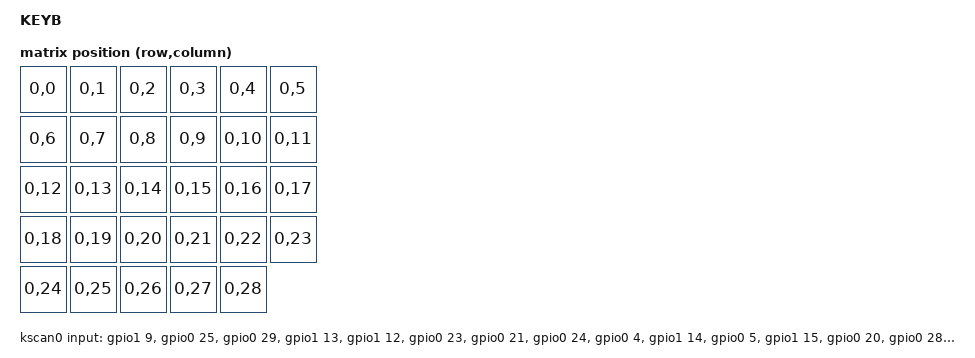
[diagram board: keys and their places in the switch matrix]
/*
 * Copyright (c) 2021 The ZMK Contributors
 *
 * SPDX-License-Identifier: MIT
 */

/dts-v1/;
#include <nordic/nrf52840_qiaa.dtsi>
#include <common/nordic/nrf52840_uf2_boot_mode.dtsi>

#include <dt-bindings/zmk/matrix_transform.h>

#include "keyb-layout.dtsi"

/ {
    model = "KEYB";
    compatible = "keyb";

    chosen {
        zephyr,code-partition = &code_partition;
        zephyr,sram = &sram0;
        zephyr,flash = &flash0;
        zmk,battery = &vbatt;
        zmk,kscan = &kscan0;
        zmk,physical-layout = &keyb_layout;
    };


    // The direct kscan reports each switch as row 0, column <index in input-gpios>,
    // so the transform is just the identity, laid out like the keymap.
    default_transform: keymap_transform_0 {
        compatible = "zmk,matrix-transform";
        columns = <29>;
        rows = <1>;
        map = <
            RC(0,0)  RC(0,1)  RC(0,2)  RC(0,3)  RC(0,4)  RC(0,5)
            RC(0,6)  RC(0,7)  RC(0,8)  RC(0,9)  RC(0,10) RC(0,11)
            RC(0,12) RC(0,13) RC(0,14) RC(0,15) RC(0,16) RC(0,17)
            RC(0,18) RC(0,19) RC(0,20) RC(0,21) RC(0,22) RC(0,23)
            RC(0,24) RC(0,25) RC(0,26) RC(0,27) RC(0,28)
        >;
    };

    kscan0: kscan {
		compatible = "zmk,kscan-gpio-direct";
        wakeup-source;

		input-gpios =
            <&gpio1 9  (GPIO_ACTIVE_LOW | GPIO_PULL_UP)>,   // Top-most row
            <&gpio0 25 (GPIO_ACTIVE_LOW | GPIO_PULL_UP)>,
            <&gpio0 29 (GPIO_ACTIVE_LOW | GPIO_PULL_UP)>,
            <&gpio1 13 (GPIO_ACTIVE_LOW | GPIO_PULL_UP)>,
            <&gpio1 12 (GPIO_ACTIVE_LOW | GPIO_PULL_UP)>,
            <&gpio0 23 (GPIO_ACTIVE_LOW | GPIO_PULL_UP)>,  

            <&gpio0 21 (GPIO_ACTIVE_LOW | GPIO_PULL_UP)>,   // Top row
            <&gpio0 24 (GPIO_ACTIVE_LOW | GPIO_PULL_UP)>,
            <&gpio0 4  (GPIO_ACTIVE_LOW | GPIO_PULL_UP)>,
            <&gpio1 14 (GPIO_ACTIVE_LOW | GPIO_PULL_UP)>,
            <&gpio0 5  (GPIO_ACTIVE_LOW | GPIO_PULL_UP)>,
            <&gpio1 15 (GPIO_ACTIVE_LOW | GPIO_PULL_UP)>,
            
            <&gpio0 20  (GPIO_ACTIVE_LOW | GPIO_PULL_UP)>,  // Middle row
            <&gpio0 28  (GPIO_ACTIVE_LOW | GPIO_PULL_UP)>,
            <&gpio1 2   (GPIO_ACTIVE_LOW | GPIO_PULL_UP)>,
            <&gpio1 1   (GPIO_ACTIVE_LOW | GPIO_PULL_UP)>,
            <&gpio1 10  (GPIO_ACTIVE_LOW | GPIO_PULL_UP)>,
            <&gpio0 7   (GPIO_ACTIVE_LOW | GPIO_PULL_UP)>,

            <&gpio1 7   (GPIO_ACTIVE_LOW | GPIO_PULL_UP)>,  // Bottom Row
            <&gpio1 11  (GPIO_ACTIVE_LOW | GPIO_PULL_UP)>,
            <&gpio0 8   (GPIO_ACTIVE_LOW | GPIO_PULL_UP)>,
            <&gpio1 3   (GPIO_ACTIVE_LOW | GPIO_PULL_UP)>,
            <&gpio1 5   (GPIO_ACTIVE_LOW | GPIO_PULL_UP)>,
            <&gpio1 6   (GPIO_ACTIVE_LOW | GPIO_PULL_UP)>,

            <&gpio1 4   (GPIO_ACTIVE_LOW | GPIO_PULL_UP)>,  // Thumb Cluster
            <&gpio1 8   (GPIO_ACTIVE_LOW | GPIO_PULL_UP)>,
            <&gpio0 26  (GPIO_ACTIVE_LOW | GPIO_PULL_UP)>,
            <&gpio0 27  (GPIO_ACTIVE_LOW | GPIO_PULL_UP)>,
            <&gpio0 3   (GPIO_ACTIVE_LOW | GPIO_PULL_UP)>;
	};

    leds {
        compatible = "gpio-leds";
        green_led: led_0 {
            gpios = <&gpio0 2 GPIO_ACTIVE_HIGH>;
        };
    };

    vbatt: vbatt {
        compatible = "zmk,battery-nrf-vddh";
    };
};

// DC/DC mode for the main (REG1) regulator stage. Replaces the old BOARD_ENABLE_DCDC Kconfig
// option, which was enabled by default in the previous firmware.
&reg1 {
    regulator-initial-mode = <NRF5X_REG_MODE_DCDC>;
};

&adc {
    status = "okay";
};

&gpiote {
    status = "okay";
};

&gpio0 {
    status = "okay";
};

&gpio1 {
    status = "okay";
};

zephyr_udc0: &usbd {
    status = "okay";
};

&flash0 {
    /*
     * For more information, see:
     * http://docs.zephyrproject.org/latest/devices/dts/flash_partitions.html
     */
    partitions {
        compatible = "fixed-partitions";
        #address-cells = <1>;
        #size-cells = <1>;

        sd_partition: partition@0 {
            reg = <0x00000000 0x00026000>;
        };
        code_partition: partition@26000 {
            reg = <0x00026000 0x000c6000>;
        };

        /*
         * The flash starting at 0x000ec000 and ending at
         * 0x000f3fff is reserved for use by the application.
         */

        /*
         * Storage partition will be used by FCB/LittleFS/NVS
         * if enabled.
         */
        storage_partition: partition@ec000 {
            reg = <0x000ec000 0x00008000>;
        };

        boot_partition: partition@f4000 {
            reg = <0x000f4000 0x0000c000>;
        };
    };
};

&keyb_layout {
    transform = <&default_transform>;
};
